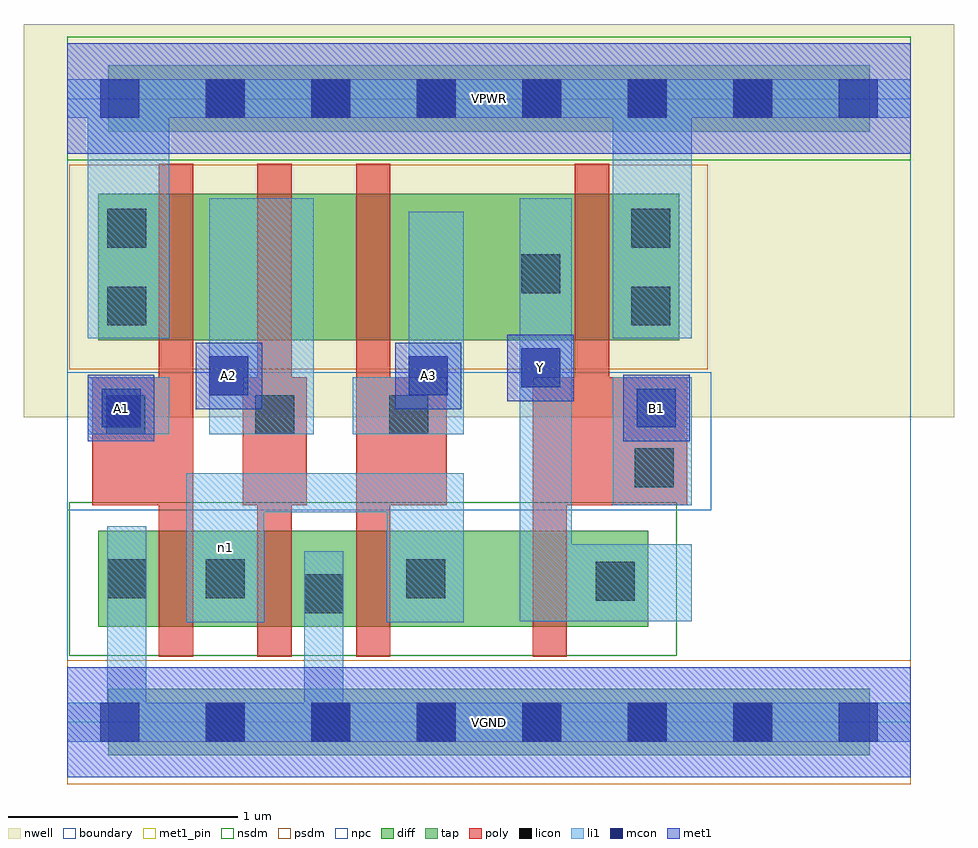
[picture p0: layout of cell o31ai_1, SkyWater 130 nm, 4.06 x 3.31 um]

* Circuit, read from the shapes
.subckt o31ai_1 A1 A2 A3 B1 VGND VPWR Y n1
XM1 n1 A1 VGND VGND sky130_fd_pr__nfet_01v8 w=0.42 l=0.15
XM2 VGND A2 n1 VGND sky130_fd_pr__nfet_01v8 w=0.42 l=0.15
XM3 n1 A3 VGND VGND sky130_fd_pr__nfet_01v8 w=0.42 l=0.15
XM4 Y B1 n1 VGND sky130_fd_pr__nfet_01v8 w=0.42 l=0.15
XM5 n2 A1 VPWR VPWR sky130_fd_pr__pfet_01v8 w=0.64 l=0.15
XM6 n3 A2 n2 VPWR sky130_fd_pr__pfet_01v8 w=0.64 l=0.15
XM7 Y A3 n3 VPWR sky130_fd_pr__pfet_01v8 w=0.64 l=0.15
XM8 VPWR B1 Y VPWR sky130_fd_pr__pfet_01v8 w=0.64 l=0.15
.ends

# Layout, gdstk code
import gdstk
lib = gdstk.Library(unit=1e-6, precision=1e-09)
def R(c, l, rs):  # rectangles x0, y0, x1, y1
    for r in rs: c.add(gdstk.rectangle(r[:2], r[2:], *l))
def A(c, l, x, y, w, h, nx, ny, dx, dy):  # array of equal rectangles
    R(c, l, [(x+i*dx, y+j*dy, x+i*dx+w, y+j*dy+h) for i in range(nx) for j in range(ny)])
nwell = (64, 20)
diff = (65, 20)
tap = (65, 44)
poly = (66, 20)
licon = (66, 44)
li1 = (67, 20)
mcon = (67, 44)
met1_pin = (68, 16)
met1 = (68, 20)
nsdm = (93, 44)
psdm = (94, 20)
npc = (95, 20)
boundary = (235, 4)

o31ai_1 = lib.new_cell('o31ai_1')
R(o31ai_1, nwell, [(-0.19,1.33,3.87,3.045), (0,1.33,3.68,3.045)])
R(o31ai_1, diff, [(0.135,0.415,2.535,0.835), (0.135,1.665,2.67,2.305)])
R(o31ai_1, tap, [(0.18,-0.145,3.5,0.145), (0.18,2.575,3.5,2.865)])
A(o31ai_1, poly, 0.4, 0.285, 0.15, 2.15, 3, 1, 0.43, 0)
R(o31ai_1, poly, [(2.03,0.285,2.18,1.505), (0.11,0.945,0.55,1.505), (0.765,0.945,1.045,1.505), (1.26,0.945,1.655,1.505), (2.03,0.945,2.705,1.505), (2.215,0.945,2.365,2.435)])
A(o31ai_1, licon, 0.605, -0.085, 0.17, 0.17, 6, 2, 0.46, 2.72)
R(o31ai_1, licon, [(1.035,0.475,1.205,0.645), (2.305,0.53,2.475,0.7), (0.175,0.54,0.345,0.71), (0.605,0.54,0.775,0.71), (1.48,0.54,1.65,0.71), (2.475,1.025,2.645,1.195), (0.17,1.255,0.34,1.425), (0.82,1.255,0.99,1.425), (1.405,1.255,1.575,1.425), (0.175,1.73,0.345,1.9), (2.46,1.73,2.63,1.9), (1.98,1.87,2.15,2.04), (0.175,2.07,0.345,2.24), (2.46,2.07,2.63,2.24)])
R(o31ai_1, li1, [(0,-0.085,3.68,0.085), (0.175,-0.085,0.345,0.855), (1.035,-0.085,1.205,0.745), (0.52,0.435,0.86,1.085), (1.395,0.435,1.73,1.085), (1.975,0.44,2.2,2.285), (1.975,0.44,2.725,0.775), (0.52,0.915,1.73,1.085), (2.38,0.945,2.725,1.505), (0.09,1.255,0.445,1.505), (0.62,1.255,1.075,2.285), (1.245,1.255,1.73,1.505), (1.49,1.255,1.73,2.225), (0.09,1.675,0.445,2.805), (2.38,1.675,2.725,2.805), (0,2.635,3.68,2.805)])
A(o31ai_1, mcon, 0.145, -0.085, 0.17, 0.17, 8, 2, 0.46, 2.72)
R(o31ai_1, mcon, [(0.15,1.285,0.32,1.455), (2.485,1.285,2.655,1.455), (0.62,1.425,0.79,1.595), (1.49,1.425,1.66,1.595), (1.98,1.46,2.15,1.63)])
R(o31ai_1, met1_pin, [(0,-0.24,3.68,0.24), (0.09,1.225,0.38,1.515), (2.425,1.225,2.715,1.515), (0.56,1.365,0.85,1.655), (1.43,1.365,1.72,1.655), (1.92,1.4,2.21,1.69), (0,2.48,3.68,2.96)])
R(o31ai_1, met1, [(0,-0.24,3.68,0.24), (0.09,1.225,0.38,1.515), (2.425,1.225,2.715,1.515), (0.56,1.365,0.85,1.655), (1.43,1.365,1.72,1.655), (1.92,1.4,2.21,1.69), (0,2.48,3.68,2.96)])
R(o31ai_1, nsdm, [(0.01,0.29,2.66,0.96), (0,2.45,3.68,2.99)])
R(o31ai_1, psdm, [(0,-0.27,3.68,0.27), (0.01,1.54,2.795,2.43)])
R(o31ai_1, npc, [(0,0.925,2.81,1.525)])
R(o31ai_1, boundary, [(0,0,3.68,2.72)])
o31ai_1.add(gdstk.Label('n1', (0.69,0.76), layer=67, texttype=5))
o31ai_1.add(gdstk.Label('A1', (0.235,1.37), layer=68, texttype=5))
o31ai_1.add(gdstk.Label('A2', (0.705,1.51), layer=68, texttype=5))
o31ai_1.add(gdstk.Label('A3', (1.575,1.51), layer=68, texttype=5))
o31ai_1.add(gdstk.Label('B1', (2.57,1.37), layer=68, texttype=5))
o31ai_1.add(gdstk.Label('Y', (2.065,1.545), layer=68, texttype=5))
o31ai_1.add(gdstk.Label('VPWR', (1.84,2.72), layer=68, texttype=5))
o31ai_1.add(gdstk.Label('VGND', (1.84,0), layer=68, texttype=5))
o31ai_1.add(gdstk.Label('A1', (0.235,1.37), layer=68, texttype=16))
o31ai_1.add(gdstk.Label('A2', (0.705,1.51), layer=68, texttype=16))
o31ai_1.add(gdstk.Label('A3', (1.575,1.51), layer=68, texttype=16))
o31ai_1.add(gdstk.Label('B1', (2.57,1.37), layer=68, texttype=16))
o31ai_1.add(gdstk.Label('Y', (2.065,1.545), layer=68, texttype=16))
o31ai_1.add(gdstk.Label('VPWR', (1.84,2.72), layer=68, texttype=16))
o31ai_1.add(gdstk.Label('VGND', (1.84,0), layer=68, texttype=16))

lib.write_gds('o31ai_1.gds')
